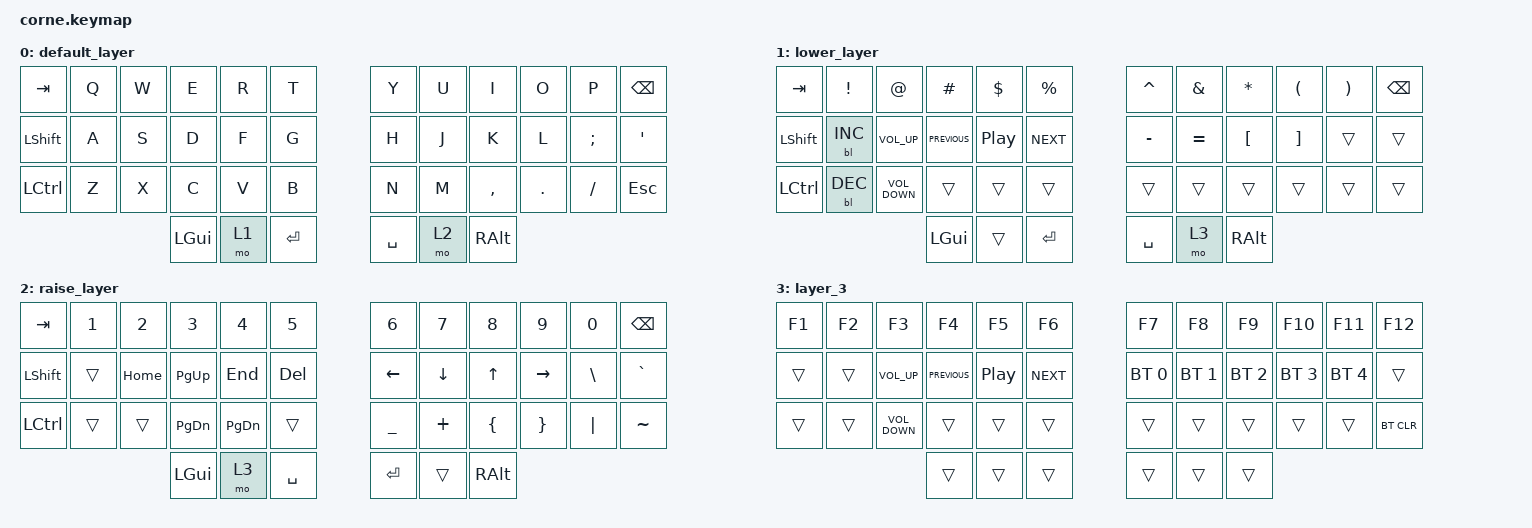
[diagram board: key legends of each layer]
/*
 * Copyright (c) 2020 The ZMK Contributors
 *
 * SPDX-License-Identifier: MIT
 */

#include <behaviors.dtsi>
#include <dt-bindings/zmk/backlight.h>
#include <dt-bindings/zmk/bt.h>
#include <dt-bindings/zmk/keys.h>

/ {
    combos {
        compatible = "zmk,combos";

        combo_esc {
            timeout-ms = <50>;
            key-positions = <0 1>;
            bindings = <&kp ESC>;
        };
    };

    behaviors {
        ss_hs_modmorph: ss_hs_modmorph {
            compatible = "zmk,behavior-mod-morph";
            label = "SS_HS_MODMORPH";
            bindings = <&kp M>, <&kp RIGHT_BRACKET>;

            #binding-cells = <0>;
            mods = <(MOD_LSFT|MOD_RSFT)>;
        };

        kh_hs_tapdance: kh_hs_tapdance {
            compatible = "zmk,behavior-tap-dance";
            label = "KH_HS_TAPDANCE";
            #binding-cells = <0>;
            tapping-term-ms = <200>;
            bindings = <&kp LEFT_BRACKET>, <&kp RIGHT_BRACKET>;
        };

        hrm: hrm {
            compatible = "zmk,behavior-hold-tap";
            #binding-cells = <2>;
            flavor = "tap-preferred";
            tapping-term-ms = <200>;
            quick-tap-ms = <200>;
            require-prior-idle-ms = <125>;
            bindings = <&kp>, <&kp>;
        };
    };

    keymap {
        compatible = "zmk,keymap";

        default_layer {
            // -----------------------------------------------------------------------------------------
            // |  TAB |  Q  |  W  |  E  |  R  |  T  |   |  Y  |  U   |  I  |  O  |  P  | BKSP |
            // | CTRL |  A  |  S  |  D  |  F  |  G  |   |  H  |  J   |  K  |  L  |  ;  |  '   |
            // | SHFT |  Z  |  X  |  C  |  V  |  B  |   |  N  |  M   |  ,  |  .  |  /  | ESC  |
            //                    | GUI | LWR | SPC |   | ENT | RSE  | ALT |

            bindings = <
&kp TAB           &kp Q  &kp W  &kp E     &kp R  &kp T        &kp Y      &kp U  &kp I      &kp O    &kp P     &kp BSPC
&kp LEFT_SHIFT    &kp A  &kp S  &kp D     &kp F  &kp G        &kp H      &kp J  &kp K      &kp L    &kp SEMI  &kp SQT
&kp LEFT_CONTROL  &kp Z  &kp X  &kp C     &kp V  &kp B        &kp N      &kp M  &kp COMMA  &kp DOT  &kp FSLH  &kp ESC
                                &kp LGUI  &mo 1  &kp ENTER    &kp SPACE  &mo 2  &kp RALT
            >;
        };

        lower_layer {
            // -----------------------------------------------------------------------------------------
            // |  TAB |  1  |  2  |  3  |  4  |  5  |   |  6  |  7  |  8  |  9  |  0  | BKSP |
            // | BTCLR| BT1 | BT2 | BT3 | BT4 | BT5 |   | LFT | DWN |  UP | RGT |     |      |
            // | SHFT |     |     |     |     |     |   |     |     |     |     |     |      |
            //                    | GUI |     | SPC |   | ENT |     | ALT |

            bindings = <
&kp TAB           &kp EXCLAMATION  &kp AT_SIGN        &kp HASH        &kp DOLLAR        &kp PERCENT    &kp CARET  &kp AMPERSAND  &kp ASTERISK      &kp LEFT_PARENTHESIS  &kp RIGHT_PARENTHESIS  &kp BSPC
&kp LEFT_SHIFT    &bl BL_INC       &kp C_VOLUME_UP    &kp C_PREVIOUS  &kp C_PLAY_PAUSE  &kp C_NEXT     &kp MINUS  &kp EQUAL      &kp LEFT_BRACKET  &kp RIGHT_BRACKET     &trans                 &trans
&kp LEFT_CONTROL  &bl BL_DEC       &kp C_VOLUME_DOWN  &trans          &trans            &trans         &trans     &trans         &trans            &trans                &trans                 &trans
                                                      &kp LGUI        &trans            &kp RET        &kp SPACE  &mo 3          &kp RALT
            >;
        };

        raise_layer {
            // -----------------------------------------------------------------------------------------
            // |  TAB |  !  |  @  |  #  |  $  |  %  |   |  ^  |  &  |  *  |  (  |  )  | BKSP |
            // | CTRL |     |     |     |     |     |   |  -  |  =  |  [  |  ]  |  \  |  `   |
            // | SHFT |     |     |     |     |     |   |  _  |  +  |  {  |  }  | "|" |  ~   |
            //                    | GUI |     | SPC |   | ENT |     | ALT |

            bindings = <
&kp TAB           &kp N1  &kp N2    &kp N3         &kp N4         &kp N5       &kp N6     &kp N7    &kp N8    &kp N9     &kp N0    &kp BSPC
&kp LEFT_SHIFT    &trans  &kp HOME  &kp PG_UP      &kp END        &kp DEL      &kp LEFT   &kp DOWN  &kp UP    &kp RIGHT  &kp BSLH  &kp GRAVE
&kp LEFT_CONTROL  &trans  &trans    &kp PAGE_DOWN  &kp PAGE_DOWN  &trans       &kp UNDER  &kp PLUS  &kp LBRC  &kp RBRC   &kp PIPE  &kp TILDE
                                    &kp LGUI       &mo 3          &kp SPACE    &kp RET    &trans    &kp RALT
            >;
        };

        layer_3 {
            bindings = <
&kp F1  &kp F2  &kp F3             &kp F4          &kp F5            &kp F6        &kp F7        &kp F8        &kp F9        &kp F10       &kp F11       &kp F12
&trans  &trans  &kp C_VOLUME_UP    &kp C_PREVIOUS  &kp C_PLAY_PAUSE  &kp C_NEXT    &bt BT_SEL 0  &bt BT_SEL 1  &bt BT_SEL 2  &bt BT_SEL 3  &bt BT_SEL 4  &trans
&trans  &trans  &kp C_VOLUME_DOWN  &trans          &trans            &trans        &trans        &trans        &trans        &trans        &trans        &bt BT_CLR
                                   &trans          &trans            &trans        &trans        &trans        &trans
            >;
        };
    };
};
